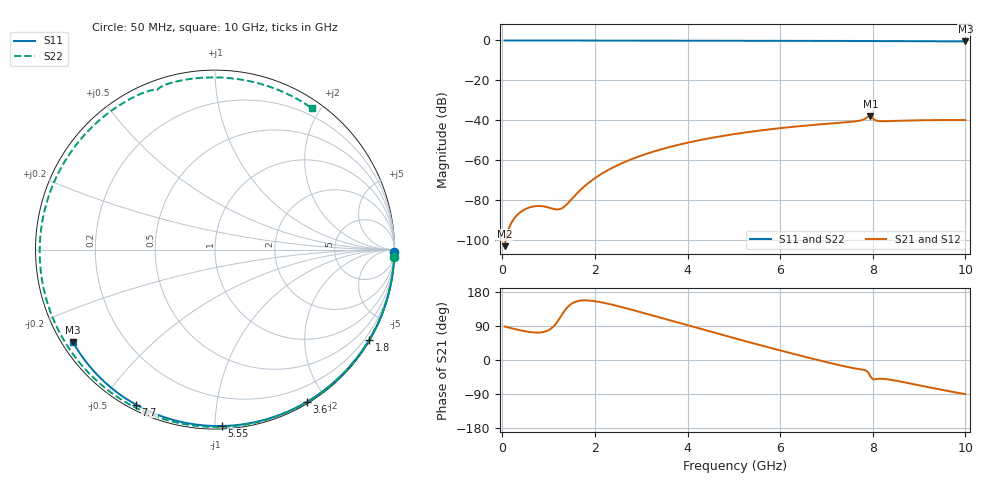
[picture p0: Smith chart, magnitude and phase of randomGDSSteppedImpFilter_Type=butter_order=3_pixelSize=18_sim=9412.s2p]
! freq	dB(S11)	phase(S11)	dB(S12)	phase(S12)
!  dB(S21)	phase(S21)	dB(S22)	phase(S22)
!S-par simulation data
#  GHz  S  DB  R 50
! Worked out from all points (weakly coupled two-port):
!   200 points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, 50 MHz to 10 GHz, reference 50 ohm
!   highest |S21| = -37.90 dB at 7.95 GHz (marker M1); lowest = -103.1 dB at 50 MHz (marker M2)
!   lowest |S11| = -0.5 dB at 10 GHz (marker M3), VSWR 35.21, Z = 1.55 - j14.9 ohm
!   |S11| at or under -10 dB: nowhere
!   |S22| runs from -0.5 to 0.0 dB; largest |S21 - S12| = 0
!   S11 on the Smith chart (normalised r, x): 50 MHz: open; 1.8 GHz: 0.03, -3.70; 3.6 GHz: 0.02, -1.77; 5.55 GHz: 0.02, -1.04; 7.7 GHz: 0.02, -0.61; 10 GHz: 0.03, -0.30
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0.05  -0.00 -0.9  -103.10 88.4  -103.10 88.4  -0.00 -2.4
0.35  -0.01 -6.0  -86.85 79.4  -86.85 79.4  -0.03 -16.6
0.65  -0.01 -11.0  -83.29 73.1  -83.29 73.1  -0.04 -30.5
1.05  -0.02 -17.8  -84.04 82.6  -84.04 82.6  -0.06 -48.5
1.45  -0.03 -24.5  -80.72 144.3  -80.72 144.3  -0.08 -65.5
1.75  -0.04 -29.4  -73.58 157.3  -73.58 157.3  -0.09 -77.6
1.8  -0.04 -30.2  -72.57 157.4  -72.57 157.4  -0.09 -79.6
2.1  -0.05 -35.2  -67.47 153.1  -67.47 153.1  -0.10 -90.9
2.45  -0.05 -40.8  -62.97 143.6  -62.97 143.6  -0.11 -103.4
2.9  -0.06 -48.0  -58.55 129.1  -58.55 129.1  -0.13 -118.4
3.4  -0.07 -55.9  -54.77 112.2  -54.77 112.2  -0.14 -133.8
3.6  -0.08 -59.0  -53.49 105.3  -53.49 105.3  -0.15 -139.7
4.3  -0.10 -69.6  -49.79 81.4  -49.79 81.4  -0.17 -159.1
5.05  -0.12 -80.6  -46.79 56.2  -46.79 56.2  -0.20 -178.5
5.55  -0.14 -87.8  -45.18 39.8  -45.18 39.8  -0.22 169.0
6.7  -0.20 -103.7  -42.36 3.4  -42.36 3.4  -0.28 140.8
7.7  -0.27 -117.0  -40.27 -23.9  -40.27 -23.9  -0.34 115.7
7.95  -0.29 -120.2  -37.90 -43.3  -37.90 -43.3  -0.48 109.9
8.1  -0.30 -122.2  -40.32 -49.9  -40.32 -49.9  -0.35 106.2
8.35  -0.32 -125.5  -40.41 -51.5  -40.41 -51.5  -0.35 99.6
9.15  -0.40 -135.8  -39.96 -70.5  -39.96 -70.5  -0.37 78.4
10  -0.49 -146.8  -39.90 -90.1  -39.90 -90.1  -0.40 55.4
